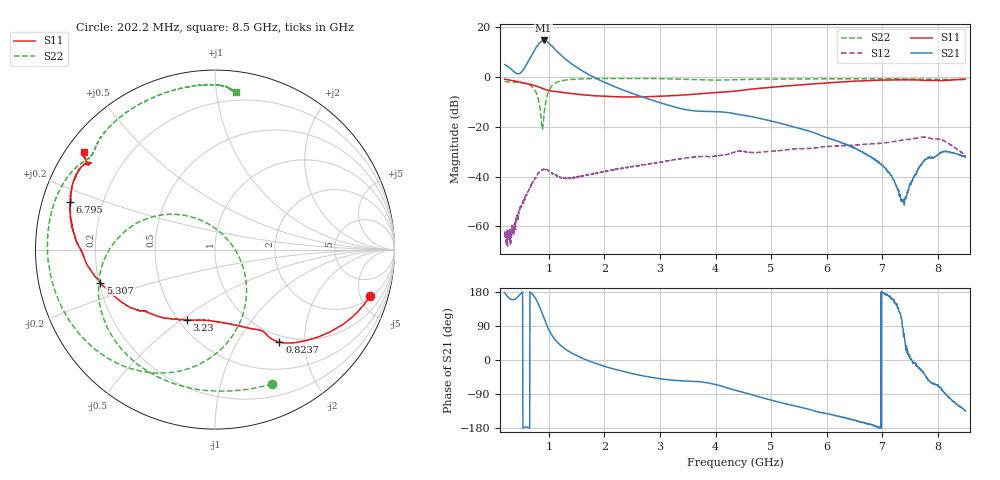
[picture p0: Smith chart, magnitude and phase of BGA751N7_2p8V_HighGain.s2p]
!BGA751L7 Device Level S-Parameters 5.12.2008
# MHZ S MA R 50
!  S11  S21  S12  S22
!  f  mag  angle  mag  angle  mag  angle  mag  angle
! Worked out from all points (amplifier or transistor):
!   1563 points, 202.2 MHz to 8.5 GHz, reference 50 ohm
!   highest |S21| = 14.7 dB at 903.4 MHz (marker M1)
!   |S21| within 3 dB of that: 765.7 MHz to 1.086 GHz (320.3 MHz wide, 34.6 % of centre)
!   unconditionally stable (mu >= 1): start of sweep to end of sweep
!   at 1.583 GHz: K = 4.42, MAG = 11.8 dB, |S12| = -39.7 dB
!   at 4.351 GHz: K = 13.52, MAG = -6.7 dB, |S12| = -30.0 dB
!   at 8.5 GHz: K = 28.22, MAG = -17.9 dB, |S12| = -31.5 dB
!   lowest NFmin = 0.79 dB at 880 MHz
!   S11 on the Smith chart (normalised r, x): 202.2 MHz: 2.19, -6.04; 823.7 MHz: 0.89, -1.52; 3.23 GHz: 0.55, -0.53; 5.307 GHz: 0.21, -0.14; 6.795 GHz: 0.08, +0.16; 8.5 GHz: 0.05, +0.33
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202.1679  0.9013 -16.7  1.774 177.7  0.0006175 87.2  0.8144 -66.9
319.0387  0.8558 -25.4  1.44 160.2  0.0004635 100.9  0.7864 -93.0
457.1589  0.7975 -34.1  1.163 169.2  0.001789 149.6  0.7733 -120.2
653.7144  0.7133 -45.4  2.322 -179.8  0.006251 138.6  0.6888 -160.5
744.0237  0.6733 -50.6  3.498 165.8  0.009199 130.4  0.5533 174.4
823.7084  0.6287 -55.2  4.737 143.3  0.01215 113.6  0.3009 139.1
903.3931  0.5769 -58.1  5.411 113.3  0.01421 92.2  0.1416 -17.6
951.2039  0.5511 -58.9  5.239 95.3  0.01383 79.6  0.3538 -61.6
1004.327  0.5325 -59.4  4.732 78.2  0.0131 71.6  0.5446 -85.1
1099.949  0.5137 -60.9  3.688 55.7  0.01098 61.2  0.7367 -111.2
1296.504  0.4826 -65.7  2.3 28.7  0.009399 62.7  0.8668 -139.6
1588.681  0.4427 -73.4  1.357 5.3  0.01047 70.9  0.9152 -161.3
2969.883  0.4102 -106.3  0.312 -48.6  0.01952 65.1  0.9253 157.8
3230.186  0.4228 -111.9  0.2555 -53.2  0.02174 63.1  0.9119 152.9
4351.084  0.5189 -138.6  0.1828 -79.7  0.03169 51.6  0.8828 137.9
5307.3  0.6651 -163.9  0.1067 -117.1  0.03518 39.5  0.9118 120.0
5737.597  0.7247 -175.0  0.07859 -132.5  0.03706 33.2  0.9142 111.4
6794.748  0.8484 161.9  0.02502 -169.5  0.04536 18.7  0.9184 94.3
7118.799  0.871 155.9  0.01256 169.7  0.04879 14.2  0.9178 90.8
7373.79  0.8793 151.6  0.003128 84.6  0.05405 8.0  0.9168 88.1
7788.15  0.85 146.2  0.0226 -42.9  0.06192 -14.3  0.9042 85.2
8500  0.9069 143.3  0.02469 -134.7  0.02669 -44.3  0.8866 82.5
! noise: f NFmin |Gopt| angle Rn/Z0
750  0.82  0.443  47.9  0.18
880  0.79  0.289  50  0.19
942  0.79  0.338  93  0.17
